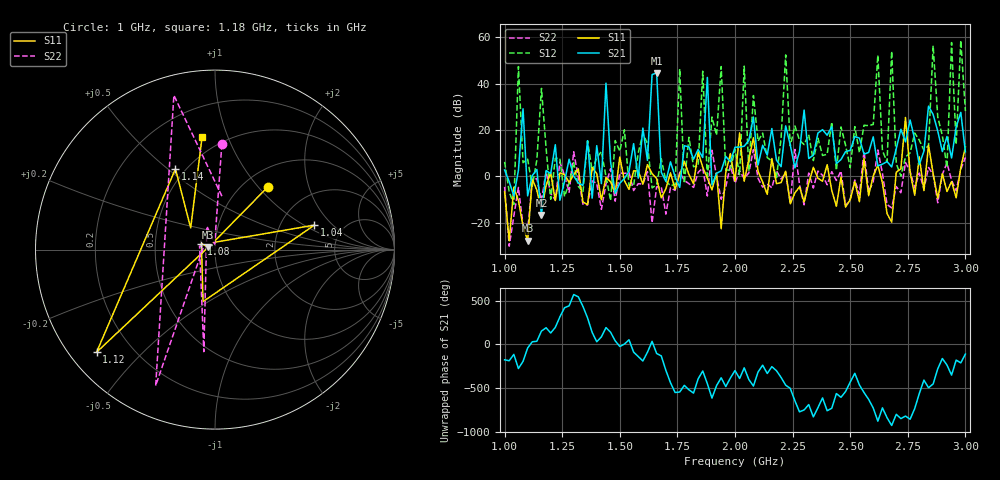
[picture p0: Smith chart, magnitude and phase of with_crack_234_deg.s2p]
# MHz S MA R 50
!  freq  S11  S21  S12  S22
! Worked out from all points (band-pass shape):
!   101 points, 1 GHz to 3 GHz, reference 50 ohm
!   highest |S21| = 44.62 dB at 1.66 GHz (marker M1); lowest = -16.7 dB at 1.16 GHz (marker M2)
!   |S21| within 3 dB of the highest: 1.639 GHz to 1.661 GHz (22.61 MHz wide, 1.37 % of centre); 1.879409 GHz to 1.88044 GHz (1.031 MHz wide, 0.0548 % of centre)
!   lowest |S11| = -27.9 dB at 1.1 GHz (marker M3), VSWR 1.08, Z = 46.3 + j1.21 ohm
!   |S11| at or under -10 dB: 1.058 GHz to 1.113 GHz (55.27 MHz wide, 5.09 % of centre); 1.338 GHz to 1.363 GHz (24.31 MHz wide, 1.8 % of centre); 2.475 GHz to 2.501 GHz (25.63 MHz wide, 1.03 % of centre) (the widest 3 of 13)
!   |S22| runs from -30.2 to 11.6 dB; largest |S21 - S12| = 8.4e+02
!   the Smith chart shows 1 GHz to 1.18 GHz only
!   S11 on the Smith chart (normalised r, x): 1 GHz: 1.28, +1.14; 1.04 GHz: 3.10, +1.26; 1.08 GHz: 0.86, +0.06; 1.12 GHz: 0.08, -0.37; 1.14 GHz: 0.44, +0.53; 1.18 GHz: 0.39, +0.81
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1000  0.4593 49.8  1.364 -176.7  2.042 -169.9  0.5897 86.3
1040  0.5707 13.8  0.3752 -114.8  0.2456 -111.8  0.1374 109.0
1080  0.08301 155.9  28.46 165.7  1.959 -75.2  0.08813 167.5
1100  0.04049 161.2  0.3765 -42.1  2.336 157.7  0.06587 164.5
1120  0.8733 -139.1  1.03 29.1  0.6083 -179.8  0.8266 -113.6
1140  0.5007 116.1  1.395 35.0  2.26 -163.7  0.8895 104.9
1160  0.1814 138.3  0.1465 151.4  78.46 78.0  0.2942 81.9
1180  0.6293 96.6  1.328 -170.7  4.089 -8.3  1.262 62.2
1340  0.2783 53.7  0.6341 73.2  0.4525 -163.1  0.2492 102.6
1660  0.8893 -91.3  170.2 -104.7  0.656 -22.3  0.5897 -113.1
1680  0.3412 68.4  1.216 -132.2  2.374 -118.1  0.5929 88.6
2000  0.7882 104.6  4.214 60.7  3.817 134.3  0.7062 91.6
2340  1.552 119.7  2.848 -108.5  2.176 -118.5  0.5568 72.9
2660  0.1569 -89.2  2.068 -117.9  2.043 63.5  0.2459 -34.3
2680  0.1022 20.9  1.589 153.7  497.7 112.3  0.2069 4.7
2820  0.489 140.7  3.478 -48.8  3.639 -71.1  0.5307 160.2
2860  1.144 128.2  21.49 -92.7  655.6 128.6  1.086 129.9
2880  0.3331 57.0  9.47 80.2  19.07 -91.4  0.2677 56.7
2940  0.765 -1.7  2.476 9.2  765.8 -118.1  0.8154 3.3
2960  0.3425 47.2  11.54 -179.9  4.843 10.3  0.4872 53.7
2980  1.527 84.3  23.86 148.2  850.6 -147.6  1.406 86.0
3000  4.253 -9.2  3.374 -111.5  25.49 64.3  2.546 -70.1
